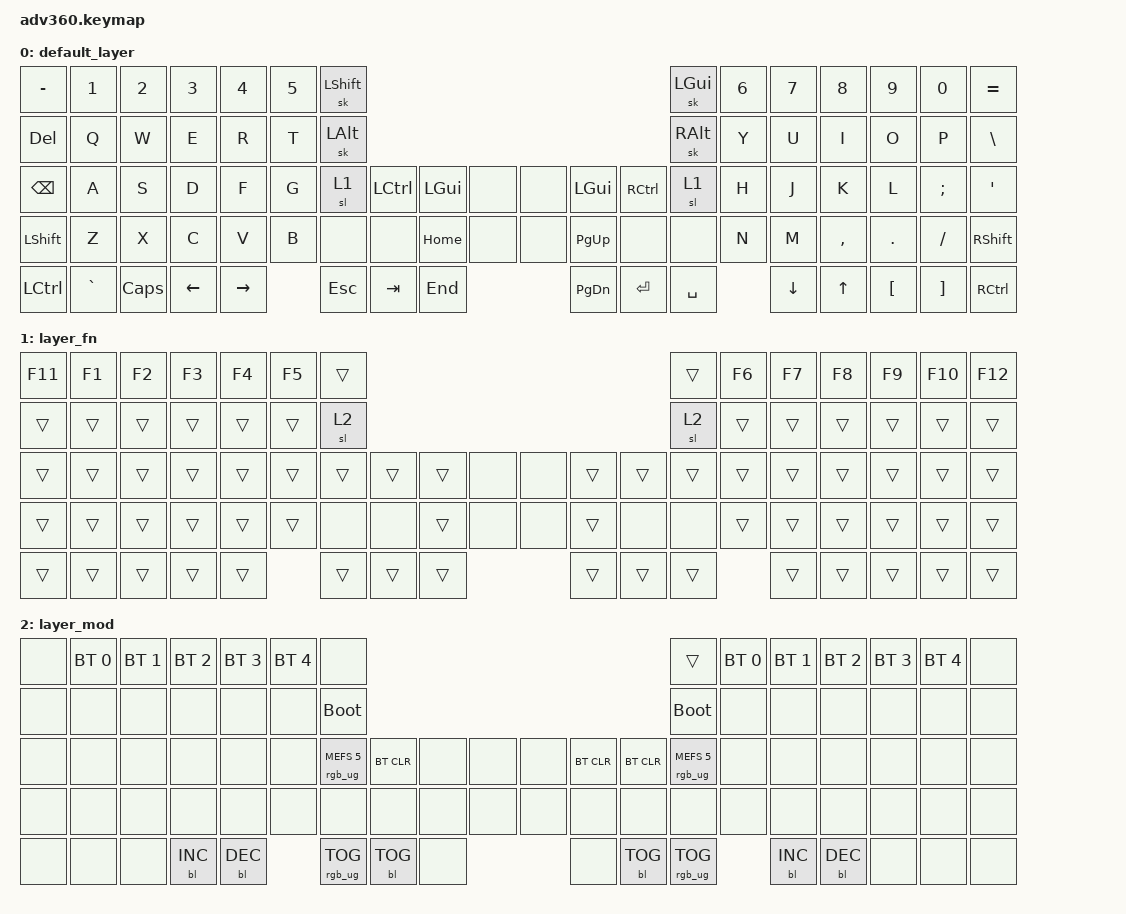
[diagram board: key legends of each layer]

/*
 * Copyright (c) 2020 The ZMK Contributors
 *
 * SPDX-License-Identifier: MIT
 */


/* THIS FILE WAS GENERATED!
 *
 * This file was generated automatically. You may or may not want to
 * edit it directly.
 */

#include <behaviors.dtsi>
#include <dt-bindings/zmk/keys.h>
#include <dt-bindings/zmk/bt.h>
#include <dt-bindings/zmk/rgb.h>
#include <dt-bindings/zmk/backlight.h>

/ {
  behaviors {
    #include "macros.dtsi"
    #include "version.dtsi"

    hm: homerow_mods {
        compatible = "zmk,behavior-hold-tap";
        label = "HOMEROW_MODS";
        #binding-cells = <2>;
        tapping-term-ms = <200>;
        quick_tap_ms = <175>;
        flavor = "tap-preferred";
        bindings = <&kp>, <&kp>;
    };
  };

    keymap {
        compatible = "zmk,keymap";


        default_layer {
            bindings = <
     &kp MINUS     &kp N1    &kp N2    &kp N3     &kp N4  &kp N5            &sk LEFT_SHIFT                                                              &sk LEFT_GUI  &kp N6    &kp N7     &kp N8    &kp N9    &kp N0  &kp EQUAL
    &kp DELETE      &kp Q     &kp W     &kp E      &kp R   &kp T              &sk LEFT_ALT                                                             &sk RIGHT_ALT   &kp Y     &kp U      &kp I     &kp O     &kp P   &kp BSLH
 &kp BACKSPACE      &kp A     &kp S     &kp D      &kp F   &kp G                     &sl 1  &kp LCTRL  &kp LGUI   &none   &none   &kp LGUI  &kp RCTRL          &sl 1   &kp H     &kp J      &kp K     &kp L  &kp SEMI    &kp SQT
     &kp LSHFT      &kp Z     &kp X     &kp C      &kp V   &kp B                     &none      &none  &kp HOME   &none   &none  &kp PG_UP      &none          &none   &kp N     &kp M  &kp COMMA   &kp DOT  &kp FSLH  &kp RSHFT
     &kp LCTRL  &kp GRAVE  &kp CAPS  &kp LEFT  &kp RIGHT                           &kp ESC    &kp TAB   &kp END                  &kp PG_DN  &kp ENTER      &kp SPACE          &kp DOWN     &kp UP  &kp LBKT  &kp RBKT  &kp RCTRL
            >;
        };

        layer_fn {
            bindings = <
 &kp F11  &kp F1  &kp F2  &kp F3  &kp F4  &kp F5            &trans                                                  &trans  &kp F6  &kp F7  &kp F8  &kp F9  &kp F10  &kp F12
  &trans  &trans  &trans  &trans  &trans  &trans             &sl 2                                                   &sl 2  &trans  &trans  &trans  &trans   &trans   &trans
  &trans  &trans  &trans  &trans  &trans  &trans            &trans  &trans  &trans   &none   &none  &trans  &trans  &trans  &trans  &trans  &trans  &trans   &trans   &trans
  &trans  &trans  &trans  &trans  &trans  &trans             &none   &none  &trans   &none   &none  &trans   &none   &none  &trans  &trans  &trans  &trans   &trans   &trans
  &trans  &trans  &trans  &trans  &trans                    &trans  &trans  &trans                  &trans  &trans  &trans          &trans  &trans  &trans   &trans   &trans
            >;
        };

        layer_mod {
            bindings = <
  &none  &bt BT_SEL 0  &bt BT_SEL 1  &bt BT_SEL 2  &bt BT_SEL 3  &bt BT_SEL 4                             &none                                                                              &trans  &bt BT_SEL 0  &bt BT_SEL 1  &bt BT_SEL 2  &bt BT_SEL 3  &bt BT_SEL 4   &none
  &none         &none         &none         &none         &none         &none                       &bootloader                                                                         &bootloader         &none         &none         &none         &none         &none   &none
  &none         &none         &none         &none         &none         &none            &rgb_ug RGB_MEFS_CMD 5  &bt BT_CLR   &none   &none   &none  &bt BT_CLR  &bt BT_CLR  &rgb_ug RGB_MEFS_CMD 5         &none         &none         &none         &none         &none   &none
  &none         &none         &none         &none         &none         &none                             &none       &none   &none   &none   &none       &none       &none                   &none         &none         &none         &none         &none         &none   &none
  &none         &none         &none    &bl BL_INC    &bl BL_DEC                                 &rgb_ug RGB_TOG  &bl BL_TOG   &none                       &none  &bl BL_TOG         &rgb_ug RGB_TOG                  &bl BL_INC    &bl BL_DEC         &none         &none   &none
            >;
        };

    };
};
